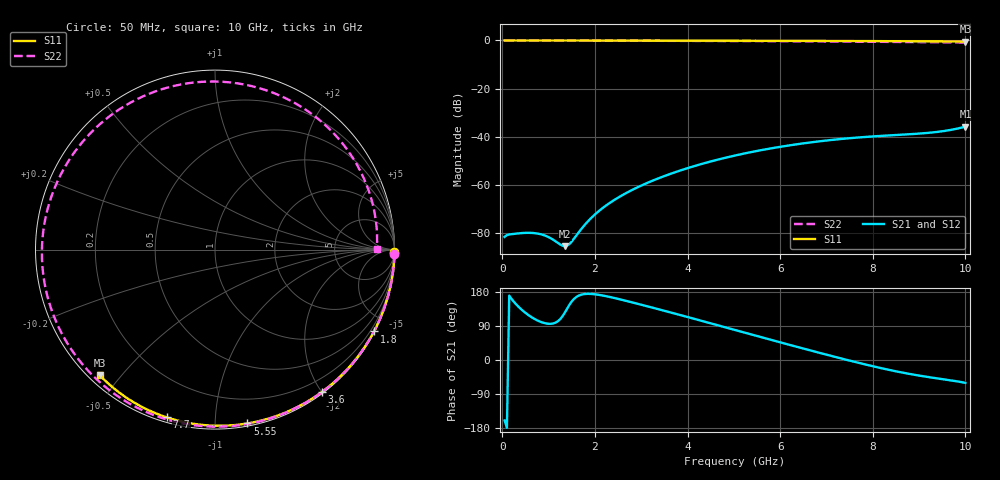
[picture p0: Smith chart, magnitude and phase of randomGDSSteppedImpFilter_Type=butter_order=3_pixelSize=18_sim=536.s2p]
! freq	dB(S11)	phase(S11)	dB(S12)	phase(S12)
!  dB(S21)	phase(S21)	dB(S22)	phase(S22)
!S-par simulation data
#  GHz  S  DB  R 50
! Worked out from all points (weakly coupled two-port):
!   200 points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, 50 MHz to 10 GHz, reference 50 ohm
!   highest |S21| = -35.73 dB at 10 GHz (marker M1); lowest = -85.3 dB at 1.35 GHz (marker M2)
!   lowest |S11| = -0.4 dB at 10 GHz (marker M3), VSWR 38.68, Z = 1.54 - j21.9 ohm
!   |S11| at or under -10 dB: nowhere
!   |S22| runs from -0.9 to 0.0 dB; largest |S21 - S12| = 0
!   S11 on the Smith chart (normalised r, x): 50 MHz: open; 1.8 GHz: 0.04, -4.13; 3.6 GHz: 0.02, -1.99; 5.55 GHz: 0.02, -1.20; 7.7 GHz: 0.02, -0.75; 10 GHz: 0.03, -0.44
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0.05  -0.00 -0.8  -81.47 -159.5  -81.47 -159.5  -0.00 -1.5
0.65  -0.01 -10.0  -79.83 111.6  -79.83 111.6  -0.02 -20.0
1.35  -0.03 -20.5  -85.32 125.0  -85.32 125.0  -0.05 -41.1
1.6  -0.03 -24.3  -80.88 166.4  -80.88 166.4  -0.06 -48.5
1.75  -0.03 -26.5  -77.16 173.6  -77.16 173.6  -0.07 -52.9
1.8  -0.03 -27.2  -76.04 174.4  -76.04 174.4  -0.07 -54.4
2.1  -0.04 -31.7  -70.52 171.7  -70.52 171.7  -0.08 -63.2
2.45  -0.05 -36.8  -65.77 162.7  -65.77 162.7  -0.09 -73.4
3.4  -0.07 -50.4  -56.97 133.1  -56.97 133.1  -0.13 -100.6
3.6  -0.07 -53.2  -55.54 126.6  -55.54 126.6  -0.14 -106.3
4.3  -0.09 -62.9  -51.24 103.5  -51.24 103.5  -0.18 -126.3
5.05  -0.11 -73.0  -47.61 78.3  -47.61 78.3  -0.23 -148.4
5.55  -0.13 -79.5  -45.63 61.6  -45.63 61.6  -0.27 -163.8
6.15  -0.15 -87.1  -43.66 41.7  -43.66 41.7  -0.33 176.4
6.7  -0.18 -94.0  -42.18 23.7  -42.18 23.7  -0.39 156.7
7.2  -0.21 -100.1  -41.08 7.7  -41.08 7.7  -0.45 137.1
7.7  -0.24 -106.1  -40.21 -7.7  -40.21 -7.7  -0.51 115.6
8.35  -0.29 -113.7  -39.39 -26.0  -39.39 -26.0  -0.58 84.9
8.8  -0.33 -118.9  -38.89 -36.9  -38.89 -36.9  -0.63 62.1
9.3  -0.37 -124.7  -38.13 -46.9  -38.13 -46.9  -0.69 36.2
9.65  -0.41 -128.7  -37.21 -53.1  -37.21 -53.1  -0.77 18.0
10  -0.45 -132.7  -35.73 -60.4  -35.73 -60.4  -0.90 0.3
